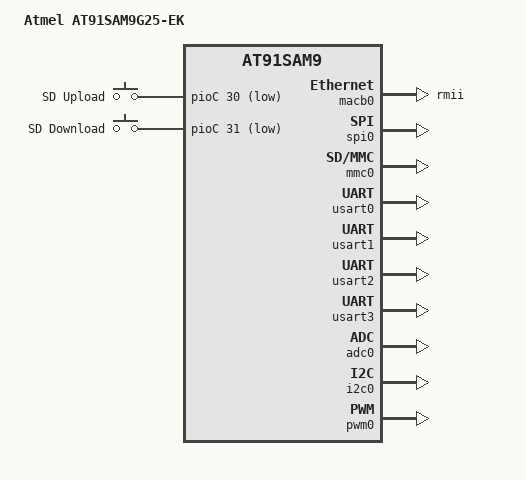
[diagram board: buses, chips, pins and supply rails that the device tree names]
/*
 * at91sam9g25ek.dts - Device Tree file for AT91SAM9G25-EK board
 *
 *  Copyright (C) 2012 Atmel,
 *                2012 Nicolas Ferre <nicolas.ferre@atmel.com>
 *
 * Licensed under GPLv2 or later.
 */
/dts-v1/;
#include "at91sam9g25.dtsi"
#include "at91sam9x5ek.dtsi"

/ {
	model = "Atmel AT91SAM9G25-EK";
	compatible = "atmel,at91sam9g25ek", "atmel,at91sam9x5ek", "atmel,at91sam9x5", "atmel,at91sam9";

	ahb {
		apb {
			macb0: ethernet@f802c000 {
				phy-mode = "rmii";
				status = "okay";
			};

			isi: isi@f8048000 {
				status = "disable";
			};

			/* Conflict with ISI PA13 pin, so disable it */
			spi0: spi@f0000000 {
				status = "okay";
			};

			mmc0: mmc@f0008000 {
				pinctrl-0 = <&pinctrl_mmc0_slot0_clk_cmd_dat0 &pinctrl_mmc0_slot0_dat1_3>;
				status = "okay";
				slot@0 {
					reg = <0>;
					bus-width = <4>;
					cd-gpios = <&pioA 4 0>;
				};
			};

			/* Conflict with ISI PA13 pin, so disable it */
			mmc1: mmc@f000c000 {
				status = "disabled";
			};
			usart0: serial@f801c000 {
				//atmel,use-dma-tx;
				//atmel,use-dma-rx;
				//dmas = <&dma0 1 AT91_DMA_CFG_PER_ID(3)>,
				//	   <&dma0 1 (AT91_DMA_CFG_PER_ID(4) | AT91_DMA_CFG_FIFOCFG_ASAP)>;
				//dma-names = "tx","rx";				
				status = "okay";
			};
			usart1: serial@f8020000 {				
				//atmel,use-dma-tx;
				//atmel,use-dma-rx;
				//dmas = <&dma0 1 AT91_DMA_CFG_PER_ID(5)>,
				//	   <&dma0 1 (AT91_DMA_CFG_PER_ID(6) | AT91_DMA_CFG_FIFOCFG_ASAP)>;
				//dma-names = "tx","rx";
				status = "okay";
			};
			usart2: serial@f8024000 {
				status = "okay";
			};
			usart3: serial@f8028000 {
				pinctrl-0 = <&pinctrl_usart3 &pinctrl_usart3_rts &pinctrl_usart3_cts>;						
				atmel,use-dma-tx;
				atmel,use-dma-rx;
				dmas = <&dma1 1 AT91_DMA_CFG_PER_ID(14)>,
					   <&dma1 1 (AT91_DMA_CFG_PER_ID(15) | AT91_DMA_CFG_FIFOCFG_ASAP)>;
				dma-names = "tx","rx";				
				status = "okay";
			};
			uart0: serial@f8040000 {
				status = "diable";
			};
			uart1: serial@f8044000 {
				status = "diable";
			};
			adc0: adc@f804c000 {							
				status = "okay";
			};
			rtc@fffffeb0 {
				status = "okay";
			};
			i2c0: i2c@f8010000 {
				status = "okay";
			};

			pinctrl@fffff400 {
				pwm0 {
					pinctrl_pwm0:pwm0-0{
						atmel,pins = <AT91_PIOC 18 AT91_PERIPH_C AT91_PINCTRL_NONE>;
					};
				};
			};
			pwm0: pwm@f8034000 {
			    pinctrl-names = "default";
			    pinctrl-0 = <&pinctrl_pwm0>;
			    status = "okay";
			};

			gpio_keys {
				compatible = "gpio-keys";
				#address-cells = <1>;
				#size-cells = <0>;
				upload_btn{
					label = "SD Upload";
					linux,code = <0x101>;
					gpios = <&pioC 30 GPIO_ACTIVE_LOW>;
				};
				download_btn{
					label = "SD Download";
					linux,code = <0x102>;
					gpios = <&pioC 31 GPIO_ACTIVE_LOW>;
				};
			};
		};
	};
};
